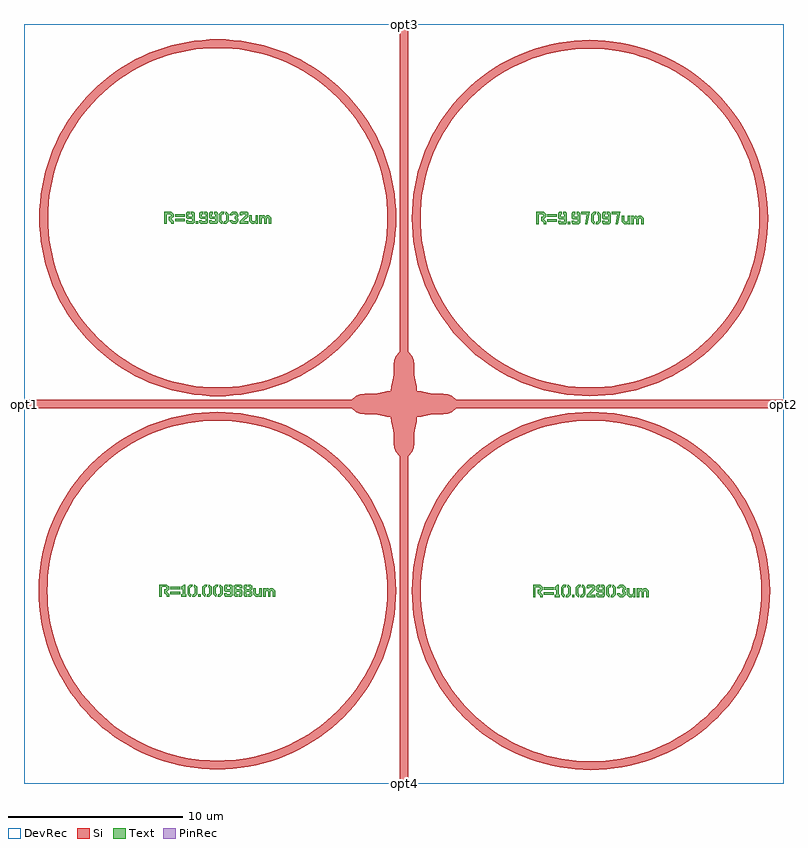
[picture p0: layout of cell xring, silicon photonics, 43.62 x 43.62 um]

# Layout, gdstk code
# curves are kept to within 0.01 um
from math import pi, radians
import gdstk
lib = gdstk.Library(unit=1e-6, precision=1e-09)
def R(c, l, rs):  # rectangles x0, y0, x1, y1
    for r in rs: c.add(gdstk.rectangle(r[:2], r[2:], *l))
def P(c, l, *ps):  # polygons
    for p in ps: c.add(gdstk.Polygon(p, *l))
Si = (1, 0)
PinRec = (1, 10)
Text = (10, 0)
DevRec = (68, 0)

ring_gdsfactorypcomponen = lib.new_cell('ring_gdsfactorypcomponentspringspring_R9p99032258064516_60ef1783')
P(ring_gdsfactorypcomponen, Si, [(0,-10.24),(-0.447,-10.231),(-1.337,-10.153),(-2.216,-9.998),(-3.079,-9.766),(-3.919,-9.461),(-4.328,-9.281),(-4.728,-9.083),(-5.502,-8.637),(-5.874,-8.388),(-6.582,-7.845),(-7.241,-7.241),(-7.845,-6.582),(-8.124,-6.234),(-8.637,-5.502),(-9.083,-4.728),(-9.281,-4.328),(-9.461,-3.919),(-9.766,-3.079),(-9.998,-2.216),(-10.153,-1.337),(-10.231,-0.447),(-10.24,0),(-10.231,0.447),(-10.153,1.337),(-9.998,2.216),(-9.766,3.079),(-9.461,3.919),(-9.281,4.328),(-9.083,4.728),(-8.637,5.502),(-8.388,5.874),(-7.845,6.582),(-7.241,7.241),(-6.582,7.845),(-6.234,8.124),(-5.502,8.637),(-4.728,9.083),(-4.328,9.281),(-3.919,9.461),(-3.079,9.766),(-2.216,9.998),(-1.337,10.153),(-0.447,10.231),(0,10.24),(0.447,10.231),(1.337,10.153),(2.216,9.998),(3.079,9.766),(3.919,9.461),(4.328,9.281),(4.728,9.083),(5.502,8.637),(5.874,8.388),(6.582,7.845),(7.241,7.241),(7.845,6.582),(8.124,6.234),(8.637,5.502),(9.083,4.728),(9.281,4.328),(9.461,3.919),(9.766,3.079),(9.998,2.216),(10.153,1.337),(10.231,0.447),(10.24,0),(9.74,0),(9.731,0.425),(9.657,1.271),(9.509,2.108),(9.29,2.929),(8.999,3.727),(8.64,4.498),(8.215,5.233),(7.979,5.587),(7.728,5.93),(7.181,6.58),(6.58,7.181),(5.93,7.728),(5.587,7.979),(4.87,8.435),(4.498,8.64),(3.727,8.999),(2.929,9.29),(2.521,9.408),(2.108,9.509),(1.271,9.657),(0.425,9.731),(-0.425,9.731),(-1.271,9.657),(-1.691,9.592),(-2.108,9.509),(-2.929,9.29),(-3.727,8.999),(-4.498,8.64),(-5.233,8.215),(-5.93,7.728),(-6.261,7.462),(-6.887,6.887),(-7.462,6.261),(-7.728,5.93),(-8.215,5.233),(-8.64,4.498),(-8.828,4.116),(-8.999,3.727),(-9.29,2.929),(-9.509,2.108),(-9.592,1.691),(-9.657,1.271),(-9.731,0.425),(-9.731,-0.425),(-9.657,-1.271),(-9.592,-1.691),(-9.509,-2.108),(-9.29,-2.929),(-8.999,-3.727),(-8.828,-4.116),(-8.64,-4.498),(-8.215,-5.233),(-7.728,-5.93),(-7.462,-6.261),(-6.887,-6.887),(-6.261,-7.462),(-5.93,-7.728),(-5.587,-7.979),(-4.87,-8.435),(-4.498,-8.64),(-3.727,-8.999),(-2.929,-9.29),(-2.521,-9.408),(-2.108,-9.509),(-1.271,-9.657),(-0.425,-9.731),(0.425,-9.731),(0.849,-9.703),(1.691,-9.592),(2.108,-9.509),(2.929,-9.29),(3.727,-8.999),(4.116,-8.828),(4.498,-8.64),(5.233,-8.215),(5.93,-7.728),(6.261,-7.462),(6.887,-6.887),(7.462,-6.261),(7.728,-5.93),(8.215,-5.233),(8.64,-4.498),(8.828,-4.116),(8.999,-3.727),(9.29,-2.929),(9.509,-2.108),(9.657,-1.271),(9.731,-0.425),(9.74,0),(10.24,0),(10.231,-0.447),(10.153,-1.337),(9.998,-2.216),(9.766,-3.079),(9.461,-3.919),(9.281,-4.328),(9.083,-4.728),(8.637,-5.502),(8.388,-5.874),(7.845,-6.582),(7.241,-7.241),(6.582,-7.845),(6.234,-8.124),(5.502,-8.637),(4.728,-9.083),(4.328,-9.281),(3.919,-9.461),(3.079,-9.766),(2.216,-9.998),(1.337,-10.153),(0.447,-10.231)])

straight_gdsfactorypcomp = lib.new_cell('straight_gdsfactorypcomponentspwaveguidespstraight_L17__05a76f0e')
R(straight_gdsfactorypcomp, Si, [(0,-0.25,17,0.25)])

text_gdsfactorypcomponen = lib.new_cell('text_gdsfactorypcomponentsptextsptext_TR9p97097um_S0p7__023686bc')
R(text_gdsfactorypcomponen, Text, [(1.89,0,2.03,0.14), (0.7,0.14,1.26,0.28), (0.7,0.42,1.26,0.56)])
P(text_gdsfactorypcomponen, Text, [(1.4,0),(1.33,0.07),(1.33,0.21),(1.47,0.21),(1.47,0.14),(1.68,0.14),(1.68,0.28),(1.4,0.28),(1.33,0.35),(1.33,0.63),(1.4,0.7),(1.54,0.7),(1.54,0.56),(1.47,0.56),(1.47,0.42),(1.68,0.42),(1.68,0.56),(1.61,0.56),(1.61,0.7),(1.75,0.7),(1.82,0.63),(1.82,0.07),(1.75,0)],
  [(2.17,0),(2.1,0.07),(2.1,0.21),(2.24,0.21),(2.24,0.14),(2.45,0.14),(2.45,0.28),(2.17,0.28),(2.1,0.35),(2.1,0.63),(2.17,0.7),(2.31,0.7),(2.31,0.56),(2.24,0.56),(2.24,0.42),(2.45,0.42),(2.45,0.56),(2.38,0.56),(2.38,0.7),(2.52,0.7),(2.59,0.63),(2.59,0.07),(2.52,0)],
  [(3.92,0),(3.85,0.07),(3.85,0.21),(3.99,0.21),(3.99,0.14),(4.2,0.14),(4.2,0.28),(3.92,0.28),(3.85,0.35),(3.85,0.63),(3.92,0.7),(4.06,0.7),(4.06,0.56),(3.99,0.56),(3.99,0.42),(4.2,0.42),(4.2,0.56),(4.13,0.56),(4.13,0.7),(4.27,0.7),(4.34,0.63),(4.34,0.07),(4.27,0)],
  [(5.11,0),(4.97,0.14),(4.97,0.49),(5.11,0.49),(5.11,0.21),(5.18,0.14),(5.25,0.14),(5.32,0.21),(5.32,0.49),(5.46,0.49),(5.46,0),(5.32,0),(5.32,0.07),(5.25,0)],
  [(3.36,0),(3.22,0.14),(3.22,0.56),(3.36,0.7),(3.521,0.7),(3.486,0.56),(3.43,0.56),(3.36,0.49),(3.36,0.21),(3.43,0.14),(3.395,0)],
  [(5.53,0),(5.53,0.49),(5.67,0.49),(5.67,0.42),(5.74,0.49),(5.81,0.49),(5.88,0.42),(5.95,0.49),(6.09,0.49),(6.23,0.35),(6.23,0),(6.09,0),(6.09,0.28),(6.02,0.35),(5.95,0.28),(5.95,0),(5.81,0),(5.81,0.28),(5.74,0.35),(5.67,0.28),(5.67,0)],
  [(0.07,0),(0.07,0.7),(0.49,0.7),(0.63,0.56),(0.63,0.42),(0.49,0.28),(0.63,0.14),(0.63,0),(0.49,0),(0.49,0.07),(0.35,0.21),(0.35,0.42),(0.42,0.42),(0.49,0.49),(0.42,0.56),(0.21,0.56),(0.21,0)],
  [(2.87,0),(2.982,0.56),(2.66,0.56),(2.66,0.7),(3.15,0.7),(3.01,0)],
  [(4.62,0),(4.732,0.56),(4.41,0.56),(4.41,0.7),(4.9,0.7),(4.76,0)],
  [(3.479,0),(3.514,0.14),(3.57,0.14),(3.64,0.21),(3.64,0.49),(3.57,0.56),(3.605,0.7),(3.64,0.7),(3.78,0.56),(3.78,0.14),(3.64,0)])

unnamed_4 = lib.new_cell('Unnamed_4')
unnamed_4.add(gdstk.Reference(text_gdsfactorypcomponen, (-3.15,-0.35)))

c_text_gdsfactorypcomponen = lib.new_cell('text_gdsfactorypcomponentsptextsptext_TR10p00968um_S0p7_23353c52')
R(c_text_gdsfactorypcomponen, Text, [(2.31,0,2.45,0.14), (0.7,0.14,1.26,0.28), (0.7,0.42,1.26,0.56)])
P(c_text_gdsfactorypcomponen, Text, [(4.97,0),(4.9,0.07),(4.9,0.28),(4.97,0.35),(4.9,0.42),(4.9,0.63),(4.97,0.7),(5.11,0.7),(5.11,0.56),(5.04,0.56),(5.04,0.42),(5.25,0.42),(5.25,0.56),(5.18,0.56),(5.18,0.7),(5.32,0.7),(5.39,0.63),(5.39,0.42),(5.32,0.35),(5.39,0.28),(5.39,0.07),(5.32,0),(5.18,0),(5.18,0.14),(5.25,0.14),(5.25,0.28),(5.04,0.28),(5.04,0.14),(5.11,0.14),(5.11,0)],
  [(1.33,0),(1.33,0.14),(1.4,0.14),(1.4,0.42),(1.33,0.42),(1.33,0.56),(1.47,0.7),(1.54,0.7),(1.54,0.14),(1.61,0.14),(1.61,0)],
  [(3.85,0),(3.78,0.07),(3.78,0.21),(3.92,0.21),(3.92,0.14),(4.13,0.14),(4.13,0.28),(3.85,0.28),(3.78,0.35),(3.78,0.63),(3.85,0.7),(3.99,0.7),(3.99,0.56),(3.92,0.56),(3.92,0.42),(4.13,0.42),(4.13,0.56),(4.06,0.56),(4.06,0.7),(4.2,0.7),(4.27,0.63),(4.27,0.07),(4.2,0)],
  [(1.939,0),(1.974,0.14),(2.03,0.14),(2.1,0.21),(2.1,0.49),(2.03,0.56),(2.065,0.7),(2.1,0.7),(2.24,0.56),(2.24,0.14),(2.1,0)],
  [(2.779,0),(2.814,0.14),(2.87,0.14),(2.94,0.21),(2.94,0.49),(2.87,0.56),(2.905,0.7),(2.94,0.7),(3.08,0.56),(3.08,0.14),(2.94,0)],
  [(3.409,0),(3.444,0.14),(3.5,0.14),(3.57,0.21),(3.57,0.49),(3.5,0.56),(3.535,0.7),(3.57,0.7),(3.71,0.56),(3.71,0.14),(3.57,0)],
  [(4.41,0),(4.34,0.07),(4.34,0.63),(4.41,0.7),(4.76,0.7),(4.83,0.63),(4.83,0.49),(4.69,0.49),(4.69,0.56),(4.48,0.56),(4.48,0.42),(4.76,0.42),(4.83,0.35),(4.83,0.07),(4.76,0),(4.62,0),(4.62,0.14),(4.69,0.14),(4.69,0.28),(4.48,0.28),(4.48,0.14),(4.55,0.14),(4.55,0)],
  [(5.6,0),(5.46,0.14),(5.46,0.49),(5.6,0.49),(5.6,0.21),(5.67,0.14),(5.74,0.14),(5.81,0.21),(5.81,0.49),(5.95,0.49),(5.95,0),(5.81,0),(5.81,0.07),(5.74,0)],
  [(1.82,0),(1.68,0.14),(1.68,0.56),(1.82,0.7),(1.981,0.7),(1.946,0.56),(1.89,0.56),(1.82,0.49),(1.82,0.21),(1.89,0.14),(1.855,0)],
  [(2.66,0),(2.52,0.14),(2.52,0.56),(2.66,0.7),(2.821,0.7),(2.786,0.56),(2.73,0.56),(2.66,0.49),(2.66,0.21),(2.73,0.14),(2.695,0)],
  [(3.29,0),(3.15,0.14),(3.15,0.56),(3.29,0.7),(3.451,0.7),(3.416,0.56),(3.36,0.56),(3.29,0.49),(3.29,0.21),(3.36,0.14),(3.325,0)],
  [(6.02,0),(6.02,0.49),(6.16,0.49),(6.16,0.42),(6.23,0.49),(6.3,0.49),(6.37,0.42),(6.44,0.49),(6.58,0.49),(6.72,0.35),(6.72,0),(6.58,0),(6.58,0.28),(6.51,0.35),(6.44,0.28),(6.44,0),(6.3,0),(6.3,0.28),(6.23,0.35),(6.16,0.28),(6.16,0)],
  [(0.07,0),(0.07,0.7),(0.49,0.7),(0.63,0.56),(0.63,0.42),(0.49,0.28),(0.63,0.14),(0.63,0),(0.49,0),(0.49,0.07),(0.35,0.21),(0.35,0.42),(0.42,0.42),(0.49,0.49),(0.42,0.56),(0.21,0.56),(0.21,0)])

unnamed_12 = lib.new_cell('Unnamed_12')
unnamed_12.add(gdstk.Reference(c_text_gdsfactorypcomponen, (-3.395,-0.35)))

ebeam_crossing4 = lib.new_cell('ebeam_crossing4')
P(ebeam_crossing4, Si, [(-0.25,-4.8),(-0.25,-3),(-0.46,-2.75),(-0.55,-2.5),(-0.59,-2.25),(-0.62,-1.5),(-0.72,-1),(-0.75,-0.74),(-1,-0.72),(-1.5,-0.62),(-2.25,-0.59),(-2.5,-0.55),(-2.75,-0.46),(-3,-0.25),(-4.8,-0.25),(-4.8,0.25),(-3,0.25),(-2.75,0.46),(-2.5,0.55),(-2.25,0.59),(-1.5,0.62),(-1,0.72),(-0.75,0.74),(-0.72,1),(-0.62,1.5),(-0.59,2.25),(-0.55,2.5),(-0.46,2.75),(-0.25,3),(-0.25,4.8),(0.25,4.8),(0.25,3),(0.46,2.75),(0.55,2.5),(0.59,2.25),(0.62,1.5),(0.72,1),(0.74,0.75),(1,0.72),(1.5,0.62),(2.25,0.59),(2.5,0.55),(2.75,0.46),(3,0.25),(4.8,0.25),(4.8,-0.25),(3,-0.25),(2.75,-0.46),(2.5,-0.55),(2.25,-0.59),(1.5,-0.62),(1,-0.72),(0.74,-0.75),(0.72,-1),(0.62,-1.5),(0.59,-2.25),(0.55,-2.5),(0.46,-2.75),(0.25,-3),(0.25,-4.8)])
ebeam_crossing4.add(gdstk.Label('Source: Wei Shi', (-4,-3), layer=10, texttype=0))
ebeam_crossing4.add(gdstk.Label('Component=ebeam_crossing4', (-4,-1), layer=68, texttype=0))
ebeam_crossing4.add(gdstk.Label('Lumerical_INTERCONNECT_library=Design kits/ebeam', (-4,-4), layer=68, texttype=0))

c_text_gdsfactorypcomponen_ = lib.new_cell('text_gdsfactorypcomponentsptextsptext_TR9p99032um_S0p7__a2950f89')
R(c_text_gdsfactorypcomponen_, Text, [(1.89,0,2.03,0.14), (0.7,0.14,1.26,0.28), (0.7,0.42,1.26,0.56)])
P(c_text_gdsfactorypcomponen_, Text, [(1.4,0),(1.33,0.07),(1.33,0.21),(1.47,0.21),(1.47,0.14),(1.68,0.14),(1.68,0.28),(1.4,0.28),(1.33,0.35),(1.33,0.63),(1.4,0.7),(1.54,0.7),(1.54,0.56),(1.47,0.56),(1.47,0.42),(1.68,0.42),(1.68,0.56),(1.61,0.56),(1.61,0.7),(1.75,0.7),(1.82,0.63),(1.82,0.07),(1.75,0)],
  [(2.17,0),(2.1,0.07),(2.1,0.21),(2.24,0.21),(2.24,0.14),(2.45,0.14),(2.45,0.28),(2.17,0.28),(2.1,0.35),(2.1,0.63),(2.17,0.7),(2.31,0.7),(2.31,0.56),(2.24,0.56),(2.24,0.42),(2.45,0.42),(2.45,0.56),(2.38,0.56),(2.38,0.7),(2.52,0.7),(2.59,0.63),(2.59,0.07),(2.52,0)],
  [(2.73,0),(2.66,0.07),(2.66,0.21),(2.8,0.21),(2.8,0.14),(3.01,0.14),(3.01,0.28),(2.73,0.28),(2.66,0.35),(2.66,0.63),(2.73,0.7),(2.87,0.7),(2.87,0.56),(2.8,0.56),(2.8,0.42),(3.01,0.42),(3.01,0.56),(2.94,0.56),(2.94,0.7),(3.08,0.7),(3.15,0.63),(3.15,0.07),(3.08,0)],
  [(3.479,0),(3.514,0.14),(3.57,0.14),(3.64,0.21),(3.64,0.49),(3.57,0.56),(3.605,0.7),(3.64,0.7),(3.78,0.56),(3.78,0.14),(3.64,0)],
  [(5.11,0),(4.97,0.14),(4.97,0.49),(5.11,0.49),(5.11,0.21),(5.18,0.14),(5.25,0.14),(5.32,0.21),(5.32,0.49),(5.46,0.49),(5.46,0),(5.32,0),(5.32,0.07),(5.25,0)],
  [(3.36,0),(3.22,0.14),(3.22,0.56),(3.36,0.7),(3.521,0.7),(3.486,0.56),(3.43,0.56),(3.36,0.49),(3.36,0.21),(3.43,0.14),(3.395,0)],
  [(5.53,0),(5.53,0.49),(5.67,0.49),(5.67,0.42),(5.74,0.49),(5.81,0.49),(5.88,0.42),(5.95,0.49),(6.09,0.49),(6.23,0.35),(6.23,0),(6.09,0),(6.09,0.28),(6.02,0.35),(5.95,0.28),(5.95,0),(5.81,0),(5.81,0.28),(5.74,0.35),(5.67,0.28),(5.67,0)],
  [(0.07,0),(0.07,0.7),(0.49,0.7),(0.63,0.56),(0.63,0.42),(0.49,0.28),(0.63,0.14),(0.63,0),(0.49,0),(0.49,0.07),(0.35,0.21),(0.35,0.42),(0.42,0.42),(0.49,0.49),(0.42,0.56),(0.21,0.56),(0.21,0)],
  [(3.99,0),(3.85,0.14),(3.85,0.21),(3.99,0.21),(4.06,0.14),(4.13,0.14),(4.2,0.21),(4.13,0.28),(4.13,0.42),(4.2,0.49),(4.13,0.56),(4.06,0.56),(3.99,0.49),(3.85,0.49),(3.85,0.56),(3.99,0.7),(4.2,0.7),(4.34,0.56),(4.34,0.42),(4.27,0.35),(4.34,0.28),(4.34,0.14),(4.2,0)],
  [(4.41,0),(4.41,0.14),(4.76,0.49),(4.76,0.56),(4.55,0.56),(4.55,0.49),(4.41,0.49),(4.41,0.63),(4.48,0.7),(4.83,0.7),(4.9,0.63),(4.9,0.42),(4.62,0.14),(4.9,0.14),(4.9,0)])

unnamed_8 = lib.new_cell('Unnamed_8')
unnamed_8.add(gdstk.Reference(c_text_gdsfactorypcomponen_, (-3.15,-0.35)))

c_text_gdsfactorypcomponen__ = lib.new_cell('text_gdsfactorypcomponentsptextsptext_TR10p02903um_S0p7_a54274cb')
R(c_text_gdsfactorypcomponen__, Text, [(2.31,0,2.45,0.14), (0.7,0.14,1.26,0.28), (0.7,0.42,1.26,0.56)])
P(c_text_gdsfactorypcomponen__, Text, [(1.33,0),(1.33,0.14),(1.4,0.14),(1.4,0.42),(1.33,0.42),(1.33,0.56),(1.47,0.7),(1.54,0.7),(1.54,0.14),(1.61,0.14),(1.61,0)],
  [(3.78,0),(3.71,0.07),(3.71,0.21),(3.85,0.21),(3.85,0.14),(4.06,0.14),(4.06,0.28),(3.78,0.28),(3.71,0.35),(3.71,0.63),(3.78,0.7),(3.92,0.7),(3.92,0.56),(3.85,0.56),(3.85,0.42),(4.06,0.42),(4.06,0.56),(3.99,0.56),(3.99,0.7),(4.13,0.7),(4.2,0.63),(4.2,0.07),(4.13,0)],
  [(1.939,0),(1.974,0.14),(2.03,0.14),(2.1,0.21),(2.1,0.49),(2.03,0.56),(2.065,0.7),(2.1,0.7),(2.24,0.56),(2.24,0.14),(2.1,0)],
  [(2.779,0),(2.814,0.14),(2.87,0.14),(2.94,0.21),(2.94,0.49),(2.87,0.56),(2.905,0.7),(2.94,0.7),(3.08,0.56),(3.08,0.14),(2.94,0)],
  [(4.529,0),(4.564,0.14),(4.62,0.14),(4.69,0.21),(4.69,0.49),(4.62,0.56),(4.655,0.7),(4.69,0.7),(4.83,0.56),(4.83,0.14),(4.69,0)],
  [(5.6,0),(5.46,0.14),(5.46,0.49),(5.6,0.49),(5.6,0.21),(5.67,0.14),(5.74,0.14),(5.81,0.21),(5.81,0.49),(5.95,0.49),(5.95,0),(5.81,0),(5.81,0.07),(5.74,0)],
  [(1.82,0),(1.68,0.14),(1.68,0.56),(1.82,0.7),(1.981,0.7),(1.946,0.56),(1.89,0.56),(1.82,0.49),(1.82,0.21),(1.89,0.14),(1.855,0)],
  [(2.66,0),(2.52,0.14),(2.52,0.56),(2.66,0.7),(2.821,0.7),(2.786,0.56),(2.73,0.56),(2.66,0.49),(2.66,0.21),(2.73,0.14),(2.695,0)],
  [(4.41,0),(4.27,0.14),(4.27,0.56),(4.41,0.7),(4.571,0.7),(4.536,0.56),(4.48,0.56),(4.41,0.49),(4.41,0.21),(4.48,0.14),(4.445,0)],
  [(6.02,0),(6.02,0.49),(6.16,0.49),(6.16,0.42),(6.23,0.49),(6.3,0.49),(6.37,0.42),(6.44,0.49),(6.58,0.49),(6.72,0.35),(6.72,0),(6.58,0),(6.58,0.28),(6.51,0.35),(6.44,0.28),(6.44,0),(6.3,0),(6.3,0.28),(6.23,0.35),(6.16,0.28),(6.16,0)],
  [(0.07,0),(0.07,0.7),(0.49,0.7),(0.63,0.56),(0.63,0.42),(0.49,0.28),(0.63,0.14),(0.63,0),(0.49,0),(0.49,0.07),(0.35,0.21),(0.35,0.42),(0.42,0.42),(0.49,0.49),(0.42,0.56),(0.21,0.56),(0.21,0)],
  [(5.04,0),(4.9,0.14),(4.9,0.21),(5.04,0.21),(5.11,0.14),(5.18,0.14),(5.25,0.21),(5.18,0.28),(5.18,0.42),(5.25,0.49),(5.18,0.56),(5.11,0.56),(5.04,0.49),(4.9,0.49),(4.9,0.56),(5.04,0.7),(5.25,0.7),(5.39,0.56),(5.39,0.42),(5.32,0.35),(5.39,0.28),(5.39,0.14),(5.25,0)],
  [(3.15,0),(3.15,0.14),(3.5,0.49),(3.5,0.56),(3.29,0.56),(3.29,0.49),(3.15,0.49),(3.15,0.63),(3.22,0.7),(3.57,0.7),(3.64,0.63),(3.64,0.42),(3.36,0.14),(3.64,0.14),(3.64,0)])

unnamed_16 = lib.new_cell('Unnamed_16')
unnamed_16.add(gdstk.Reference(c_text_gdsfactorypcomponen__, (-3.395,-0.35)))

c_ring_gdsfactorypcomponen = lib.new_cell('ring_gdsfactorypcomponentspringspring_R9p97096774193548_4121edf6')
P(c_ring_gdsfactorypcomponen, Si, [(0,-10.221),(-0.891,-10.182),(-1.334,-10.134),(-1.775,-10.066),(-2.212,-9.979),(-3.074,-9.748),(-3.496,-9.605),(-3.911,-9.443),(-4.72,-9.066),(-5.11,-8.852),(-5.863,-8.373),(-6.57,-7.83),(-7.227,-7.227),(-7.83,-6.57),(-8.373,-5.863),(-8.852,-5.11),(-9.066,-4.72),(-9.443,-3.911),(-9.605,-3.496),(-9.748,-3.074),(-9.873,-2.645),(-10.066,-1.775),(-10.134,-1.334),(-10.182,-0.891),(-10.221,0),(-10.182,0.891),(-10.134,1.334),(-10.066,1.775),(-9.979,2.212),(-9.748,3.074),(-9.605,3.496),(-9.443,3.911),(-9.066,4.72),(-8.852,5.11),(-8.373,5.863),(-7.83,6.57),(-7.227,7.227),(-6.57,7.83),(-5.863,8.373),(-5.11,8.852),(-4.72,9.066),(-3.911,9.443),(-3.496,9.605),(-3.074,9.748),(-2.645,9.873),(-1.775,10.066),(-1.334,10.134),(-0.891,10.182),(0,10.221),(0.891,10.182),(1.334,10.134),(1.775,10.066),(2.212,9.979),(3.074,9.748),(3.496,9.605),(3.911,9.443),(4.72,9.066),(5.11,8.852),(5.863,8.373),(6.57,7.83),(7.227,7.227),(7.83,6.57),(8.373,5.863),(8.852,5.11),(9.066,4.72),(9.443,3.911),(9.605,3.496),(9.748,3.074),(9.873,2.645),(10.066,1.775),(10.134,1.334),(10.182,0.891),(10.221,0),(9.721,0),(9.712,0.424),(9.638,1.269),(9.491,2.104),(9.271,2.923),(8.981,3.72),(8.623,4.489),(8.199,5.223),(7.963,5.576),(7.447,6.249),(7.167,6.567),(6.874,6.874),(6.249,7.447),(5.576,7.963),(5.223,8.199),(4.489,8.623),(3.72,8.981),(2.923,9.271),(2.104,9.491),(1.269,9.638),(0.847,9.684),(0.424,9.712),(-0.424,9.712),(-1.269,9.638),(-2.104,9.491),(-2.516,9.39),(-3.325,9.135),(-3.72,8.981),(-4.489,8.623),(-5.223,8.199),(-5.576,7.963),(-6.249,7.447),(-6.874,6.874),(-7.447,6.249),(-7.712,5.918),(-8.199,5.223),(-8.419,4.86),(-8.623,4.489),(-8.981,3.72),(-9.135,3.325),(-9.39,2.516),(-9.491,2.104),(-9.638,1.269),(-9.712,0.424),(-9.712,-0.424),(-9.684,-0.847),(-9.638,-1.269),(-9.491,-2.104),(-9.39,-2.516),(-9.135,-3.325),(-8.981,-3.72),(-8.623,-4.489),(-8.199,-5.223),(-7.963,-5.576),(-7.447,-6.249),(-6.874,-6.874),(-6.567,-7.167),(-6.249,-7.447),(-5.576,-7.963),(-5.223,-8.199),(-4.489,-8.623),(-3.72,-8.981),(-3.325,-9.135),(-2.516,-9.39),(-2.104,-9.491),(-1.269,-9.638),(-0.424,-9.712),(0.424,-9.712),(0.847,-9.684),(1.269,-9.638),(2.104,-9.491),(2.516,-9.39),(3.325,-9.135),(3.72,-8.981),(4.489,-8.623),(5.223,-8.199),(5.576,-7.963),(6.249,-7.447),(6.874,-6.874),(7.447,-6.249),(7.963,-5.576),(8.199,-5.223),(8.623,-4.489),(8.981,-3.72),(9.135,-3.325),(9.39,-2.516),(9.491,-2.104),(9.638,-1.269),(9.712,-0.424),(9.721,0),(10.221,0),(10.182,-0.891),(10.134,-1.334),(10.066,-1.775),(9.979,-2.212),(9.748,-3.074),(9.605,-3.496),(9.443,-3.911),(9.066,-4.72),(8.852,-5.11),(8.373,-5.863),(7.83,-6.57),(7.227,-7.227),(6.57,-7.83),(5.863,-8.373),(5.11,-8.852),(4.72,-9.066),(3.911,-9.443),(3.496,-9.605),(3.074,-9.748),(2.645,-9.873),(1.775,-10.066),(1.334,-10.134),(0.891,-10.182)])

c_ring_gdsfactorypcomponen_ = lib.new_cell('ring_gdsfactorypcomponentspringspring_R10p0096774193548_8384e660')
P(c_ring_gdsfactorypcomponen_, Si, [(0,-10.26),(-0.894,-10.221),(-1.782,-10.104),(-2.655,-9.91),(-3.085,-9.785),(-3.926,-9.479),(-4.737,-9.1),(-5.513,-8.653),(-6.246,-8.14),(-6.595,-7.859),(-7.255,-7.255),(-7.859,-6.595),(-8.14,-6.246),(-8.653,-5.513),(-9.1,-4.737),(-9.479,-3.926),(-9.785,-3.085),(-9.91,-2.655),(-10.104,-1.782),(-10.221,-0.894),(-10.26,0),(-10.221,0.894),(-10.104,1.782),(-9.91,2.655),(-9.785,3.085),(-9.479,3.926),(-9.1,4.737),(-8.653,5.513),(-8.14,6.246),(-7.859,6.595),(-7.255,7.255),(-6.595,7.859),(-6.246,8.14),(-5.513,8.653),(-4.737,9.1),(-3.926,9.479),(-3.085,9.785),(-2.655,9.91),(-1.782,10.104),(-0.894,10.221),(0,10.26),(0.894,10.221),(1.782,10.104),(2.655,9.91),(3.085,9.785),(3.926,9.479),(4.737,9.1),(5.513,8.653),(6.246,8.14),(6.595,7.859),(7.255,7.255),(7.859,6.595),(8.14,6.246),(8.653,5.513),(9.1,4.737),(9.479,3.926),(9.785,3.085),(9.91,2.655),(10.104,1.782),(10.221,0.894),(10.26,0),(9.76,0),(9.723,0.851),(9.676,1.274),(9.528,2.112),(9.308,2.935),(9.017,3.735),(8.657,4.507),(8.452,4.88),(7.995,5.598),(7.743,5.941),(7.196,6.594),(6.594,7.196),(5.941,7.743),(5.598,7.995),(4.88,8.452),(4.507,8.657),(3.735,9.017),(2.935,9.308),(2.526,9.427),(1.695,9.611),(0.851,9.723),(0,9.76),(-0.426,9.75),(-0.851,9.723),(-1.695,9.611),(-2.526,9.427),(-2.935,9.308),(-3.735,9.017),(-4.507,8.657),(-4.88,8.452),(-5.598,7.995),(-6.273,7.476),(-6.594,7.196),(-6.901,6.901),(-7.196,6.594),(-7.743,5.941),(-7.995,5.598),(-8.452,4.88),(-8.657,4.507),(-9.017,3.735),(-9.308,2.935),(-9.528,2.112),(-9.611,1.695),(-9.723,0.851),(-9.76,0),(-9.75,-0.426),(-9.723,-0.851),(-9.611,-1.695),(-9.427,-2.526),(-9.308,-2.935),(-9.017,-3.735),(-8.657,-4.507),(-8.452,-4.88),(-7.995,-5.598),(-7.743,-5.941),(-7.196,-6.594),(-6.901,-6.901),(-6.594,-7.196),(-5.941,-7.743),(-5.598,-7.995),(-4.88,-8.452),(-4.507,-8.657),(-3.735,-9.017),(-2.935,-9.308),(-2.526,-9.427),(-1.695,-9.611),(-1.274,-9.676),(-0.851,-9.723),(0,-9.76),(0.851,-9.723),(1.695,-9.611),(2.112,-9.528),(2.935,-9.308),(3.735,-9.017),(4.125,-8.845),(4.507,-8.657),(5.244,-8.231),(5.941,-7.743),(6.594,-7.196),(6.901,-6.901),(7.196,-6.594),(7.743,-5.941),(8.231,-5.244),(8.657,-4.507),(8.845,-4.125),(9.017,-3.735),(9.308,-2.935),(9.528,-2.112),(9.676,-1.274),(9.723,-0.851),(9.76,0),(10.26,0),(10.221,-0.894),(10.104,-1.782),(9.91,-2.655),(9.785,-3.085),(9.479,-3.926),(9.1,-4.737),(8.653,-5.513),(8.14,-6.246),(7.859,-6.595),(7.255,-7.255),(6.595,-7.859),(6.246,-8.14),(5.513,-8.653),(4.737,-9.1),(3.926,-9.479),(3.085,-9.785),(2.655,-9.91),(1.782,-10.104),(0.894,-10.221)])

c_ring_gdsfactorypcomponen__ = lib.new_cell('ring_gdsfactorypcomponentspringspring_R10p0290322580645_e20c1563')
P(c_ring_gdsfactorypcomponen__, Si, [(0,-10.279),(-0.896,-10.24),(-1.785,-10.123),(-2.66,-9.929),(-3.516,-9.659),(-3.934,-9.497),(-4.746,-9.118),(-5.14,-8.902),(-5.896,-8.42),(-6.607,-7.874),(-7.268,-7.268),(-7.874,-6.607),(-8.42,-5.896),(-8.902,-5.14),(-9.118,-4.746),(-9.497,-3.934),(-9.659,-3.516),(-9.929,-2.66),(-10.123,-1.785),(-10.24,-0.896),(-10.279,0),(-10.24,0.896),(-10.123,1.785),(-9.929,2.66),(-9.659,3.516),(-9.497,3.934),(-9.118,4.746),(-8.902,5.14),(-8.42,5.896),(-7.874,6.607),(-7.268,7.268),(-6.607,7.874),(-5.896,8.42),(-5.14,8.902),(-4.746,9.118),(-3.934,9.497),(-3.516,9.659),(-2.66,9.929),(-1.785,10.123),(-0.896,10.24),(0,10.279),(0.896,10.24),(1.785,10.123),(2.66,9.929),(3.516,9.659),(3.934,9.497),(4.746,9.118),(5.14,8.902),(5.896,8.42),(6.607,7.874),(7.268,7.268),(7.874,6.607),(8.42,5.896),(8.902,5.14),(9.118,4.746),(9.497,3.934),(9.659,3.516),(9.929,2.66),(10.123,1.785),(10.24,0.896),(10.279,0),(9.779,0),(9.742,0.852),(9.63,1.698),(9.446,2.531),(9.326,2.941),(9.035,3.742),(8.863,4.133),(8.469,4.89),(8.011,5.609),(7.491,6.286),(7.21,6.607),(6.607,7.21),(6.286,7.491),(5.609,8.011),(4.89,8.469),(4.133,8.863),(3.742,9.035),(3.345,9.189),(2.531,9.446),(1.698,9.63),(0.852,9.742),(0.427,9.77),(-0.427,9.77),(-1.276,9.695),(-2.117,9.547),(-2.941,9.326),(-3.742,9.035),(-4.133,8.863),(-4.89,8.469),(-5.609,8.011),(-5.953,7.758),(-6.607,7.21),(-6.915,6.915),(-7.21,6.607),(-7.758,5.953),(-8.011,5.609),(-8.469,4.89),(-8.863,4.133),(-9.035,3.742),(-9.189,3.345),(-9.446,2.531),(-9.547,2.117),(-9.695,1.276),(-9.77,0.427),(-9.77,-0.427),(-9.742,-0.852),(-9.63,-1.698),(-9.547,-2.117),(-9.446,-2.531),(-9.189,-3.345),(-8.863,-4.133),(-8.469,-4.89),(-8.248,-5.254),(-8.011,-5.609),(-7.491,-6.286),(-7.21,-6.607),(-6.607,-7.21),(-6.286,-7.491),(-5.609,-8.011),(-4.89,-8.469),(-4.133,-8.863),(-3.742,-9.035),(-3.345,-9.189),(-2.531,-9.446),(-2.117,-9.547),(-1.276,-9.695),(-0.427,-9.77),(0.427,-9.77),(0.852,-9.742),(1.698,-9.63),(2.117,-9.547),(2.531,-9.446),(3.345,-9.189),(4.133,-8.863),(4.89,-8.469),(5.254,-8.248),(5.609,-8.011),(6.286,-7.491),(6.915,-6.915),(7.491,-6.286),(8.011,-5.609),(8.248,-5.254),(8.469,-4.89),(8.863,-4.133),(9.189,-3.345),(9.446,-2.531),(9.547,-2.117),(9.695,-1.276),(9.77,-0.427),(9.779,0),(10.279,0),(10.24,-0.896),(10.123,-1.785),(9.929,-2.66),(9.659,-3.516),(9.497,-3.934),(9.118,-4.746),(8.902,-5.14),(8.42,-5.896),(7.874,-6.607),(7.268,-7.268),(6.607,-7.874),(5.896,-8.42),(5.14,-8.902),(4.746,-9.118),(3.934,-9.497),(3.516,-9.659),(2.66,-9.929),(1.785,-10.123),(0.896,-10.24)])

xring = lib.new_cell('xring')
R(xring, DevRec, [(0,0,43.6,43.6)])
xring.add(gdstk.FlexPath([(0.01,21.8),(-0.01,21.8)], 0.5, ends="flush", simple_path=True, layer=1, datatype=10))  # PinRec
xring.add(gdstk.FlexPath([(43.59,21.8),(43.61,21.8)], 0.5, ends="flush", simple_path=True, layer=1, datatype=10))  # PinRec
xring.add(gdstk.FlexPath([(21.8,43.59),(21.8,43.61)], 0.5, ends="flush", simple_path=True, layer=1, datatype=10))  # PinRec
xring.add(gdstk.FlexPath([(21.8,0.01),(21.8,-0.01)], 0.5, ends="flush", simple_path=True, layer=1, datatype=10))  # PinRec
xring.add(gdstk.Reference(ring_gdsfactorypcomponen, (11.11,32.49)))
xring.add(gdstk.Reference(straight_gdsfactorypcomp, (26.6,21.8)))
xring.add(gdstk.Reference(straight_gdsfactorypcomp, (21.8,26.6), rotation=pi/2))
xring.add(gdstk.Reference(unnamed_4, (32.471,32.471)))
xring.add(gdstk.Reference(unnamed_12, (11.09,11.09)))
xring.add(gdstk.Reference(straight_gdsfactorypcomp, (17,21.8), rotation=pi))
xring.add(gdstk.Reference(ebeam_crossing4, (21.8,21.8)))
xring.add(gdstk.Reference(straight_gdsfactorypcomp, (21.8,17), rotation=3*pi/2))
xring.add(gdstk.Reference(unnamed_8, (11.11,32.49)))
xring.add(gdstk.Reference(unnamed_16, (32.529,11.071)))
xring.add(gdstk.Reference(c_ring_gdsfactorypcomponen, (32.471,32.471)))
xring.add(gdstk.Reference(c_ring_gdsfactorypcomponen_, (11.09,11.09)))
xring.add(gdstk.Reference(c_ring_gdsfactorypcomponen__, (32.529,11.071)))
xring.add(gdstk.Label('opt2', (43.6,21.8), layer=1, texttype=10))
xring.add(gdstk.Label('opt1', (0,21.8), layer=1, texttype=10))
xring.add(gdstk.Label('opt3', (21.8,43.6), layer=1, texttype=10))
xring.add(gdstk.Label('opt4', (21.8,0), layer=1, texttype=10))

lib.write_gds('xring.gds')
